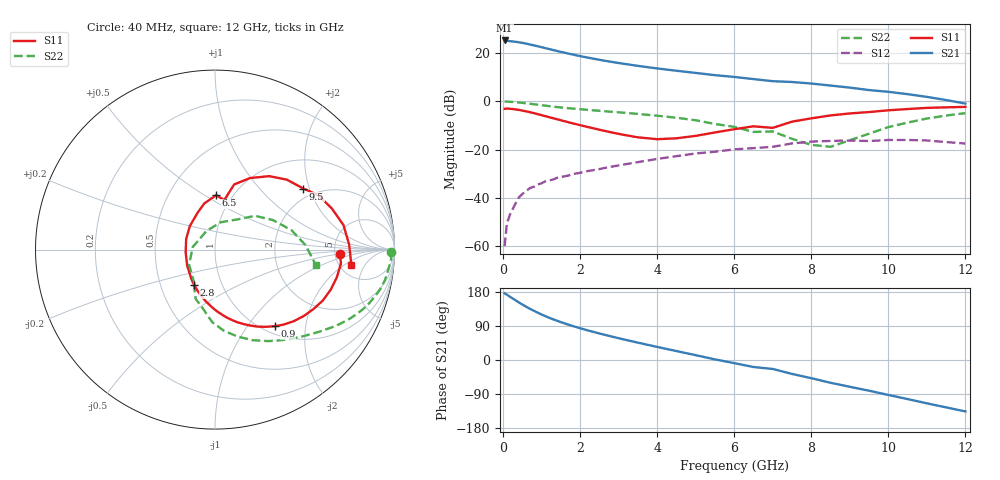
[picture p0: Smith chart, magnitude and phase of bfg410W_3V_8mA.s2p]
! Filename: 38bfg410.001
! BFG410W Field B1
! V1=8.639E-001V,V2=3.000E+000V, I1=1.160E-004A, I2=8.000E-003A
# GHz  S  MA  R 50
!  S11  S21  S12  S22
!Freq(GHz)  Mag  Ang  Mag  Ang  Mag  Ang  Mag  Ang
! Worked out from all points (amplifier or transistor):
!   44 points, 40 MHz to 12 GHz, reference 50 ohm
!   highest |S21| = 25.2 dB at 40 MHz (marker M1)
!   |S21| within 3 dB of that: start of sweep to 1.052 GHz
!   unconditionally stable (mu >= 1): start of sweep to 42.89 MHz; 2.17 GHz to end of sweep
!   at 700 MHz: K = 0.44, MSG = 29.7 dB, |S12| = -35.9 dB
!   at 2.4 GHz: K = 1.07, MAG = 21.4 dB, |S12| = -28.4 dB
!   at 12 GHz: K = 1.52, MAG = 4.0 dB, |S12| = -17.5 dB
!   S11 on the Smith chart (normalised r, x): 40 MHz: 5.55, -0.54; 900 MHz: 1.13, -1.36; 2.8 GHz: 0.74, -0.30; 6.5 GHz: 0.84, +0.56; 9.5 GHz: 1.72, +1.82; 12 GHz: 6.36, -2.68
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0.04  0.697 -2.0  18.14 175.9  0.001 38.2  0.98 -0.8
0.1  0.706 -6.4  17.79 172.4  0.003 88.3  0.983 -3.1
0.2  0.696 -12.9  17.45 165.5  0.005 81.2  0.971 -6.9
0.3  0.682 -19.2  17.1 159.2  0.007 78.6  0.962 -10.2
0.4  0.664 -25.4  16.68 152.6  0.01 75.6  0.946 -13.6
0.5  0.64 -31.3  16.17 146.4  0.012 72.0  0.927 -16.5
0.6  0.617 -36.9  15.59 140.6  0.014 69.7  0.909 -19.3
0.7  0.593 -42.3  14.95 135.1  0.016 67.2  0.888 -22.0
0.9  0.541 -52.1  13.76 124.8  0.019 63.5  0.848 -26.7
1.2  0.467 -65.0  12.02 111.4  0.023 59.2  0.792 -32.7
1.5  0.404 -76.4  10.53 100.0  0.027 56.3  0.745 -37.6
1.8  0.35 -86.8  9.304 89.9  0.031 54.2  0.706 -42.1
2.2  0.293 -100.0  8.003 78.1  0.036 51.8  0.663 -48.0
2.8  0.228 -120.8  6.564 62.4  0.044 48.1  0.607 -56.8
3.5  0.179 -150.2  5.402 45.8  0.055 42.4  0.547 -67.3
4.5  0.171 160.1  4.284 23.6  0.073 31.3  0.456 -83.6
5.5  0.226 115.7  3.468 1.6  0.09 16.7  0.339 -100.9
6.5  0.303 88.8  2.878 -18.5  0.107 3.2  0.232 -120.5
8.5  0.509 53.5  2.113 -60.1  0.151 -30.4  0.114 114.7
9.5  0.598 34.7  1.704 -81.0  0.15 -50.3  0.213 52.5
10.5  0.69 19.4  1.403 -103.1  0.158 -71.2  0.362 27.0
12  0.765 -6.6  0.896 -135.7  0.133 -109.7  0.567 -8.5
